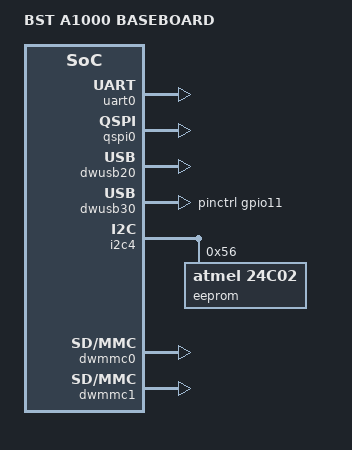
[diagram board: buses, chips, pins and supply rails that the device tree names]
// SPDX-License-Identifier: GPL-2.0
/dts-v1/;
#include "bsta1000.dtsi"

/ {
	model = "BST A1000 BASEBOARD";

	chosen {
		stdout-path = &uart0;
	};

	clkconfig {
		clk_a55cpu = <1400>; /* 1.4GMhz/25MHz */
		clknoc_dspcore = <800>; /* 800MHz/25MHz */
		clknoc_netcore = <800>; /* 800MHz/25MHz */
		clknoc_cvcore = <800>; /* 800MHz/25MHz */
		clk_sdemmc = <200>; /* 200MHz/25MHz */
		clk_coreip = <800>; /* 800MHz/25MHz */

		clk_lsp = "disable";
		clk_gmac = "enable";
		clk_axiusb3 = "enable";
		clk_gdma = "enable";
	};
};

&uart0 {
	status = "okay";
};

&gpio0 {
	status = "okay";
};

&qspi0 {
	status = "okay";
};

&dwusb20 {
	status = "okay";
};

&dwusb30 {
	status = "okay";
	pinctrl-names = "default";
	pinctrl-0 = <&pinctrl_gpio11>;
	powerctl-gpios = <&port1 11 0>;
};

&i2c4 {
	status = "okay";
	#address-cells = <1>;
	#size-cells = <0>;
	eeprom@56 {
		compatible = "atmel,24c02";
		reg = <0x56>;
		pagesize = <16>;
	};
};

&dwmmc0 {
	status = "okay";
};

&dwmmc1 {
	status = "okay";
};
